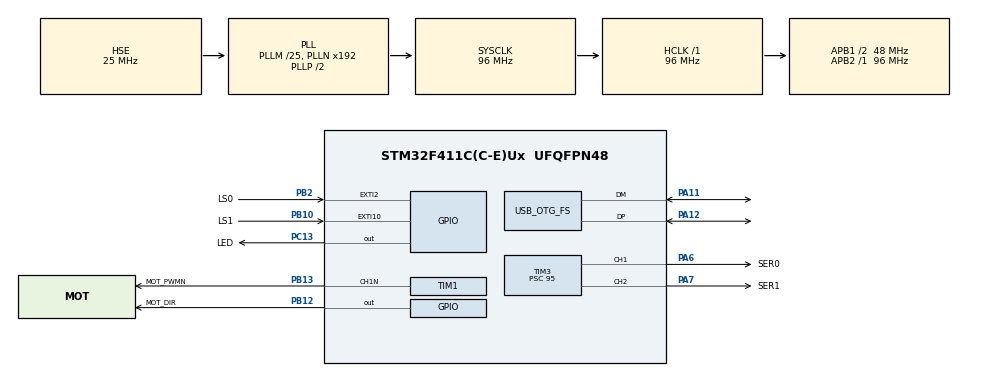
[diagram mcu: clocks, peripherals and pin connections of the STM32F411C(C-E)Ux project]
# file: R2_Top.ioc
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Mcu.Family=STM32F4
Mcu.Name=STM32F411C(C-E)Ux
Mcu.Package=UFQFPN48
NVIC.EXTI15_10_IRQn=true\:0\:0\:false\:false\:true\:true\:true\:true
NVIC.EXTI2_IRQn=true\:0\:0\:false\:false\:true\:true\:true\:true
NVIC.OTG_FS_IRQn=true\:0\:0\:false\:false\:true\:false\:true\:true
NVIC.PriorityGroup=NVIC_PRIORITYGROUP_4
NVIC.TIM4_IRQn=true\:0\:0\:false\:false\:true\:true\:true\:true
PA11.Mode=Device_Only
PA11.Signal=USB_OTG_FS_DM
PA12.Mode=Device_Only
PA12.Signal=USB_OTG_FS_DP
PA6.GPIO_Label=SER0
PA6.Signal=S_TIM3_CH1
PA7.GPIO_Label=SER1
PA7.Signal=S_TIM3_CH2
PB10.GPIO_Label=LS1
PB10.GPIO_ModeDefaultEXTI=GPIO_MODE_IT_FALLING
PB10.GPIO_PuPd=GPIO_PULLUP
PB10.Signal=GPXTI10
PB12.GPIO_Label=MOT_DIR
PB12.Signal=GPIO_Output
PB13.GPIO_Label=MOT_PWMN
PB13.Mode=PWM Generation1 CH1N
PB13.Signal=TIM1_CH1N
PB2.GPIO_Label=LS0
PB2.GPIO_ModeDefaultEXTI=GPIO_MODE_IT_FALLING
PB2.GPIO_PuPd=GPIO_PULLUP
PB2.Signal=GPXTI2
PC13-ANTI_TAMP.GPIO_Label=LED
PC13-ANTI_TAMP.Signal=GPIO_Output
PH0\ -\ OSC_IN.Mode=HSE-External-Oscillator
PH0\ -\ OSC_IN.Signal=RCC_OSC_IN
PH1\ -\ OSC_OUT.Mode=HSE-External-Oscillator
PH1\ -\ OSC_OUT.Signal=RCC_OSC_OUT
ProjectManager.HeapSize=0x200
ProjectManager.StackSize=0x400
ProjectManager.TargetToolchain=STM32CubeIDE
RCC.48MHZClocksFreq_Value=48000000
RCC.AHBFreq_Value=96000000
RCC.APB1CLKDivider=RCC_HCLK_DIV2
RCC.APB1Freq_Value=48000000
RCC.APB1TimFreq_Value=96000000
RCC.APB2Freq_Value=96000000
RCC.APB2TimFreq_Value=96000000
RCC.CortexFreq_Value=96000000
RCC.HCLKFreq_Value=96000000
RCC.HSE_VALUE=25000000
RCC.HSI_VALUE=16000000
RCC.LSE_VALUE=32768
RCC.PLLM=25
RCC.SYSCLKFreq_VALUE=96000000
RCC.SYSCLKSource=RCC_SYSCLKSOURCE_PLLCLK
RCC.VCOOutputFreq_Value=192000000
SH.S_TIM3_CH1.0=TIM3_CH1,PWM Generation1 CH1
SH.S_TIM3_CH2.0=TIM3_CH2,PWM Generation2 CH2
TIM1.Channel-PWM\ Generation1\ CH1N=TIM_CHANNEL_1
TIM3.Channel-PWM\ Generation1\ CH1=TIM_CHANNEL_1
TIM3.Channel-PWM\ Generation2\ CH2=TIM_CHANNEL_2
TIM3.Period=20000
TIM3.Prescaler=95
TIM4.AutoReloadPreload=TIM_AUTORELOAD_PRELOAD_ENABLE
TIM4.Period=1000
TIM4.Prescaler=95
USB_DEVICE.CLASS_NAME_FS=CDC
USB_DEVICE.VirtualMode=Cdc
USB_DEVICE.VirtualModeFS=Cdc_FS
USB_OTG_FS.VirtualMode=Device_Only
VP_TIM1_VS_ClockSourceINT.Mode=Internal
VP_TIM3_VS_ClockSourceINT.Mode=Internal
VP_TIM4_VS_ClockSourceINT.Mode=Internal
VP_USB_DEVICE_VS_USB_DEVICE_CDC_FS.Mode=CDC_FS
board=custom

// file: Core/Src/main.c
/* USER CODE BEGIN Header */
/**
 ******************************************************************************
 * @file           : main.c
 * @brief          : Main program body
 ******************************************************************************
 * @attention
 *
 * Copyright (c) 2024 STMicroelectronics.
 * All rights reserved.
 *
 * This software is licensed under terms that can be found in the LICENSE file
 * in the root directory of this software component.
 * If no LICENSE file comes with this software, it is provided AS-IS.
 *
 ******************************************************************************
 */
/* USER CODE END Header */
#include "main.h"
#include "usb_device.h"

/* USER CODE BEGIN Includes */
#include "usbd_cdc_if.h"
#include "string.h"

/* USER CODE END Includes */

/* USER CODE BEGIN PTD */
typedef struct {
	GPIO_TypeDef *PORT;
	uint16_t PIN;
	TIM_HandleTypeDef TIMER;
	uint32_t CHANNEL;
	uint8_t DIR;
	uint16_t PWM;
} MOT_TypeDef;

typedef struct {
	TIM_HandleTypeDef TIMER;
	uint32_t CHANNEL;
	uint16_t PWM;
} SER_TypeDef;
/* USER CODE END PTD */

/* USER CODE BEGIN PD */
#define BUFFER_LENGTH 64
#define SOL_INTERVAL 10000
#define LEFT_SHIFT 8

#define LS0_PIN GPIO_PIN_2
#define LS1_PIN GPIO_PIN_10

/* USER CODE END PD */

TIM_HandleTypeDef htim1;
TIM_HandleTypeDef htim3;
TIM_HandleTypeDef htim4;

/* USER CODE BEGIN PV */
char buffer[BUFFER_LENGTH];

uint8_t rackPos = 2; //DON'T state the rack at an extreme position
uint8_t errorFlag = 0;

MOT_TypeDef motor;
SER_TypeDef servo[2];

/* USER CODE END PV */

void SystemClock_Config(void);
static void MX_GPIO_Init(void);
static void MX_TIM1_Init(void);
static void MX_TIM3_Init(void);
static void MX_TIM4_Init(void);

/* USER CODE BEGIN 0 */
void stopRack() {
	HAL_GPIO_TogglePin(motor.PORT, motor.PIN);
	HAL_Delay(1000);

	motor.PWM = 0;
	TIM1->CCR1 = 0;
}

int isCleared(char *buffer) {
	for (uint8_t i = 0; i < BUFFER_LENGTH; i++) {
		if (buffer[i] != '\0') {
			return 0;  // Buffer is not cleared
		}
	}
	return 1;  // Buffer is cleared
}

/* USER CODE END 0 */

int main(void)
{

  /* USER CODE BEGIN 1 */
	uint32_t lastSOL = 0;

	char message[BUFFER_LENGTH + 20];

	motor.PORT = GPIOB;
	motor.PIN = GPIO_PIN_12;
	motor.TIMER = htim1;
	motor.CHANNEL = TIM_CHANNEL_1;
	motor.DIR = 0;
	motor.PWM = 0;

	servo[0].TIMER = htim3;
	servo[0].CHANNEL = TIM_CHANNEL_1;
	servo[0].PWM = 1000;

	servo[1].TIMER = htim3;
	servo[1].CHANNEL = TIM_CHANNEL_2;
	servo[1].PWM = 1000;

  /* USER CODE END 1 */

  /* MCU Configuration--------------------------------------------------------*/

  /* Reset of all peripherals, Initializes the Flash interface and the Systick. */
  HAL_Init();

  /* Configure the system clock */
  SystemClock_Config();

  /* Initialize all configured peripherals */
  MX_GPIO_Init();
  MX_USB_DEVICE_Init();
  MX_TIM1_Init();
  MX_TIM3_Init();
  MX_TIM4_Init();
  /* USER CODE BEGIN 2 */
	HAL_GPIO_WritePin(GPIOC, GPIO_PIN_13, GPIO_PIN_RESET);

	if ((HAL_TIMEx_PWMN_Start(&(motor.TIMER), motor.CHANNEL) == HAL_OK)) { //<-This is PWMN
		sprintf(message, "TIM1->CH1N active\n\r");
	} else {
		sprintf(message, "TIM1->CH1N error\n\r");
	}
	CDC_Transmit_FS((uint8_t*) message, strlen(message));
	HAL_Delay(1);

	for (uint8_t i = 0; i < 2; i++) {
		if (HAL_TIM_PWM_Start(&(servo[i].TIMER), servo[i].CHANNEL)) {	//<-This is PWM
			sprintf(message, "Servo %d PWM initialised\n\r", i);
		} else {
			sprintf(message, "Error initialising servo %d PWM\n\r", i);
		}
		CDC_Transmit_FS((uint8_t*) message, strlen(message));
		HAL_Delay(1);
	}

	if (!errorFlag) {
		sprintf(message, "All systems operational\n\r");
		CDC_Transmit_FS((uint8_t*) message, strlen(message));
		HAL_Delay(1);

		sprintf(message, "F411 Black Pill online\n\r");
		CDC_Transmit_FS((uint8_t*) message, strlen(message));
		HAL_Delay(1);
	} else {
		sprintf(message, "STM started with some errors\n\r");
		CDC_Transmit_FS((uint8_t*) message, strlen(message));
		HAL_Delay(1);
	}

  /* USER CODE END 2 */

  /* Infinite loop */
  /* USER CODE BEGIN WHILE */
	while (1) {
		uint32_t current_time = HAL_GetTick();

		if (!isCleared(buffer)) {
			char receivedStr[BUFFER_LENGTH];

			sprintf(message, "String Received: %s\n\r", buffer);
			CDC_Transmit_FS((uint8_t*) message, strlen(message));

			sprintf(receivedStr, "%s", buffer);
			uint8_t receivedStrlen = strlen(receivedStr);

			if (receivedStr[receivedStrlen - 1] == 'A') {
				uint8_t multiplier = 1;

				motor.DIR = 0;
				motor.PWM = 0;

				for (int8_t i = receivedStrlen - 2; i >= 0; i--) {
					if (receivedStr[i] >= '0' && receivedStr[i] <= '9') {
						motor.PWM += (receivedStr[i] - '0') * multiplier;
						multiplier *= 10;
					} else if (receivedStr[i] == '-') {
						motor.DIR = 1;
					}
				}
			} else if (receivedStr[0] == '1') {	//EXTEND
				if (rackPos != 0){
					motor.DIR = 0;
					motor.PWM = 127;
				}
			} else if (receivedStr[0] == '2') {	//RETRACT
				if (rackPos != 1){
					motor.DIR = 1;
					motor.PWM = 127;
				}
			} else if (receivedStr[0] == '5') {	//ARM_DOWN
				servo[0].PWM = 1000;
			} else if (receivedStr[0] == '6') {	//ARM_UP
				servo[0].PWM = 2000;
			} else if (receivedStr[0] == '7') {	//ARM_CLOSE
				servo[1].PWM = 1000;
			} else if (receivedStr[0] == '8') {	//ARM_OPEN
				servo[1].PWM = 2000;
			} else if (receivedStr[0] == '9') {	//HALF_DESCALATE: DON'T EVER use this as the 1st command after startup
				TIM1->CCR1 = 32767;
				HAL_Delay(1000);
				TIM1->CCR1 = 0;
			}

			sprintf(message, "Dir: %d PWM: %d SER1: %d SER2: %d\n\r", motor.DIR,
					motor.PWM, servo[0].PWM, servo[1].PWM);
			CDC_Transmit_FS((uint8_t*) message, strlen(message));

			HAL_GPIO_WritePin(GPIOB, GPIO_PIN_12, motor.DIR);	//<-MOTORS HERE
			TIM1->CCR1 = motor.PWM << LEFT_SHIFT;

			TIM3->CCR1 = servo[0].PWM;
			TIM3->CCR1 = servo[1].PWM;

			memset(buffer, '\0', BUFFER_LENGTH);

		} else if (current_time - lastSOL >= SOL_INTERVAL) {
			CDC_Transmit_FS((uint8_t*) "SOL\n\r", strlen("SOL\n\r"));
			lastSOL = current_time;
		}

		HAL_Delay(1);
    /* USER CODE END WHILE */

	}
}

void SystemClock_Config(void)
{
  RCC_OscInitTypeDef RCC_OscInitStruct = {0};
  RCC_ClkInitTypeDef RCC_ClkInitStruct = {0};

  /** Configure the main internal regulator output voltage
  */
  __HAL_RCC_PWR_CLK_ENABLE();
  __HAL_PWR_VOLTAGESCALING_CONFIG(PWR_REGULATOR_VOLTAGE_SCALE1);

  /** Initializes the RCC Oscillators according to the specified parameters
  * in the RCC_OscInitTypeDef structure.
  */
  RCC_OscInitStruct.OscillatorType = RCC_OSCILLATORTYPE_HSE;
  RCC_OscInitStruct.HSEState = RCC_HSE_ON;
  RCC_OscInitStruct.PLL.PLLState = RCC_PLL_ON;
  RCC_OscInitStruct.PLL.PLLSource = RCC_PLLSOURCE_HSE;
  RCC_OscInitStruct.PLL.PLLM = 25;
  RCC_OscInitStruct.PLL.PLLN = 192;
  RCC_OscInitStruct.PLL.PLLP = RCC_PLLP_DIV2;
  RCC_OscInitStruct.PLL.PLLQ = 4;
  if (HAL_RCC_OscConfig(&RCC_OscInitStruct) != HAL_OK)
  {
    Error_Handler();
  }

  /** Initializes the CPU, AHB and APB buses clocks
  */
  RCC_ClkInitStruct.ClockType = RCC_CLOCKTYPE_HCLK|RCC_CLOCKTYPE_SYSCLK
                              |RCC_CLOCKTYPE_PCLK1|RCC_CLOCKTYPE_PCLK2;
  RCC_ClkInitStruct.SYSCLKSource = RCC_SYSCLKSOURCE_PLLCLK;
  RCC_ClkInitStruct.AHBCLKDivider = RCC_SYSCLK_DIV1;
  RCC_ClkInitStruct.APB1CLKDivider = RCC_HCLK_DIV2;
  RCC_ClkInitStruct.APB2CLKDivider = RCC_HCLK_DIV1;

  if (HAL_RCC_ClockConfig(&RCC_ClkInitStruct, FLASH_LATENCY_3) != HAL_OK)
  {
    Error_Handler();
  }
}

static void MX_TIM1_Init(void)
{

  TIM_ClockConfigTypeDef sClockSourceConfig = {0};
  TIM_MasterConfigTypeDef sMasterConfig = {0};
  TIM_OC_InitTypeDef sConfigOC = {0};
  TIM_BreakDeadTimeConfigTypeDef sBreakDeadTimeConfig = {0};

  htim1.Instance = TIM1;
  htim1.Init.Prescaler = 0;
  htim1.Init.CounterMode = TIM_COUNTERMODE_UP;
  htim1.Init.Period = 65535;
  htim1.Init.ClockDivision = TIM_CLOCKDIVISION_DIV1;
  htim1.Init.RepetitionCounter = 0;
  htim1.Init.AutoReloadPreload = TIM_AUTORELOAD_PRELOAD_DISABLE;
  if (HAL_TIM_Base_Init(&htim1) != HAL_OK)
  {
    Error_Handler();
  }
  sClockSourceConfig.ClockSource = TIM_CLOCKSOURCE_INTERNAL;
  if (HAL_TIM_ConfigClockSource(&htim1, &sClockSourceConfig) != HAL_OK)
  {
    Error_Handler();
  }
  if (HAL_TIM_PWM_Init(&htim1) != HAL_OK)
  {
    Error_Handler();
  }
  sMasterConfig.MasterOutputTrigger = TIM_TRGO_RESET;
  sMasterConfig.MasterSlaveMode = TIM_MASTERSLAVEMODE_DISABLE;
  if (HAL_TIMEx_MasterConfigSynchronization(&htim1, &sMasterConfig) != HAL_OK)
  {
    Error_Handler();
  }
  sConfigOC.OCMode = TIM_OCMODE_PWM1;
  sConfigOC.Pulse = 0;
  sConfigOC.OCPolarity = TIM_OCPOLARITY_HIGH;
  sConfigOC.OCNPolarity = TIM_OCNPOLARITY_HIGH;
  sConfigOC.OCFastMode = TIM_OCFAST_DISABLE;
  sConfigOC.OCIdleState = TIM_OCIDLESTATE_RESET;
  sConfigOC.OCNIdleState = TIM_OCNIDLESTATE_RESET;
  if (HAL_TIM_PWM_ConfigChannel(&htim1, &sConfigOC, TIM_CHANNEL_1) != HAL_OK)
  {
    Error_Handler();
  }
  sBreakDeadTimeConfig.OffStateRunMode = TIM_OSSR_DISABLE;
  sBreakDeadTimeConfig.OffStateIDLEMode = TIM_OSSI_DISABLE;
  sBreakDeadTimeConfig.LockLevel = TIM_LOCKLEVEL_OFF;
  sBreakDeadTimeConfig.DeadTime = 0;
  sBreakDeadTimeConfig.BreakState = TIM_BREAK_DISABLE;
  sBreakDeadTimeConfig.BreakPolarity = TIM_BREAKPOLARITY_HIGH;
  sBreakDeadTimeConfig.AutomaticOutput = TIM_AUTOMATICOUTPUT_DISABLE;
  if (HAL_TIMEx_ConfigBreakDeadTime(&htim1, &sBreakDeadTimeConfig) != HAL_OK)
  {
    Error_Handler();
  }
  HAL_TIM_MspPostInit(&htim1);

}

static void MX_TIM3_Init(void)
{

  TIM_ClockConfigTypeDef sClockSourceConfig = {0};
  TIM_MasterConfigTypeDef sMasterConfig = {0};
  TIM_OC_InitTypeDef sConfigOC = {0};

  htim3.Instance = TIM3;
  htim3.Init.Prescaler = 95;
  htim3.Init.CounterMode = TIM_COUNTERMODE_UP;
  htim3.Init.Period = 20000;
  htim3.Init.ClockDivision = TIM_CLOCKDIVISION_DIV1;
  htim3.Init.AutoReloadPreload = TIM_AUTORELOAD_PRELOAD_DISABLE;
  if (HAL_TIM_Base_Init(&htim3) != HAL_OK)
  {
    Error_Handler();
  }
  sClockSourceConfig.ClockSource = TIM_CLOCKSOURCE_INTERNAL;
  if (HAL_TIM_ConfigClockSource(&htim3, &sClockSourceConfig) != HAL_OK)
  {
    Error_Handler();
  }
  if (HAL_TIM_PWM_Init(&htim3) != HAL_OK)
  {
    Error_Handler();
  }
  sMasterConfig.MasterOutputTrigger = TIM_TRGO_RESET;
  sMasterConfig.MasterSlaveMode = TIM_MASTERSLAVEMODE_DISABLE;
  if (HAL_TIMEx_MasterConfigSynchronization(&htim3, &sMasterConfig) != HAL_OK)
  {
    Error_Handler();
  }
  sConfigOC.OCMode = TIM_OCMODE_PWM1;
  sConfigOC.Pulse = 0;
  sConfigOC.OCPolarity = TIM_OCPOLARITY_HIGH;
  sConfigOC.OCFastMode = TIM_OCFAST_DISABLE;
  if (HAL_TIM_PWM_ConfigChannel(&htim3, &sConfigOC, TIM_CHANNEL_1) != HAL_OK)
  {
    Error_Handler();
  }
  if (HAL_TIM_PWM_ConfigChannel(&htim3, &sConfigOC, TIM_CHANNEL_2) != HAL_OK)
  {
    Error_Handler();
  }
  HAL_TIM_MspPostInit(&htim3);

}

static void MX_TIM4_Init(void)
{

  TIM_ClockConfigTypeDef sClockSourceConfig = {0};
  TIM_MasterConfigTypeDef sMasterConfig = {0};

  htim4.Instance = TIM4;
  htim4.Init.Prescaler = 95;
  htim4.Init.CounterMode = TIM_COUNTERMODE_UP;
  htim4.Init.Period = 1000;
  htim4.Init.ClockDivision = TIM_CLOCKDIVISION_DIV1;
  htim4.Init.AutoReloadPreload = TIM_AUTORELOAD_PRELOAD_ENABLE;
  if (HAL_TIM_Base_Init(&htim4) != HAL_OK)
  {
    Error_Handler();
  }
  sClockSourceConfig.ClockSource = TIM_CLOCKSOURCE_INTERNAL;
  if (HAL_TIM_ConfigClockSource(&htim4, &sClockSourceConfig) != HAL_OK)
  {
    Error_Handler();
  }
  sMasterConfig.MasterOutputTrigger = TIM_TRGO_RESET;
  sMasterConfig.MasterSlaveMode = TIM_MASTERSLAVEMODE_DISABLE;
  if (HAL_TIMEx_MasterConfigSynchronization(&htim4, &sMasterConfig) != HAL_OK)
  {
    Error_Handler();
  }

}

static void MX_GPIO_Init(void)
{
  GPIO_InitTypeDef GPIO_InitStruct = {0};

  /* GPIO Ports Clock Enable */
  __HAL_RCC_GPIOC_CLK_ENABLE();
  __HAL_RCC_GPIOH_CLK_ENABLE();
  __HAL_RCC_GPIOA_CLK_ENABLE();
  __HAL_RCC_GPIOB_CLK_ENABLE();

  /*Configure GPIO pin Output Level */
  HAL_GPIO_WritePin(LED_GPIO_Port, LED_Pin, GPIO_PIN_RESET);

  /*Configure GPIO pin Output Level */
  HAL_GPIO_WritePin(MOT_DIR_GPIO_Port, MOT_DIR_Pin, GPIO_PIN_RESET);

  /*Configure GPIO pin : LED_Pin */
  GPIO_InitStruct.Pin = LED_Pin;
  GPIO_InitStruct.Mode = GPIO_MODE_OUTPUT_PP;
  GPIO_InitStruct.Pull = GPIO_NOPULL;
  GPIO_InitStruct.Speed = GPIO_SPEED_FREQ_LOW;
  HAL_GPIO_Init(LED_GPIO_Port, &GPIO_InitStruct);

  /*Configure GPIO pins : LS0_Pin LS1_Pin */
  GPIO_InitStruct.Pin = LS0_Pin|LS1_Pin;
  GPIO_InitStruct.Mode = GPIO_MODE_IT_FALLING;
  GPIO_InitStruct.Pull = GPIO_PULLUP;
  HAL_GPIO_Init(GPIOB, &GPIO_InitStruct);

  /*Configure GPIO pin : MOT_DIR_Pin */
  GPIO_InitStruct.Pin = MOT_DIR_Pin;
  GPIO_InitStruct.Mode = GPIO_MODE_OUTPUT_PP;
  GPIO_InitStruct.Pull = GPIO_NOPULL;
  GPIO_InitStruct.Speed = GPIO_SPEED_FREQ_LOW;
  HAL_GPIO_Init(MOT_DIR_GPIO_Port, &GPIO_InitStruct);

  /* EXTI interrupt init*/
  HAL_NVIC_SetPriority(EXTI2_IRQn, 0, 0);
  HAL_NVIC_EnableIRQ(EXTI2_IRQn);

  HAL_NVIC_SetPriority(EXTI15_10_IRQn, 0, 0);
  HAL_NVIC_EnableIRQ(EXTI15_10_IRQn);

}

/* USER CODE BEGIN 4 */
void HAL_TIM_PeriodElapsedCallback(TIM_HandleTypeDef *htim) {
	if (errorFlag) {
		HAL_GPIO_TogglePin(GPIOC, GPIO_PIN_13);
	}
}

void HAL_GPIO_EXTI_Callback(uint16_t GPIO_Pin) {
	if (GPIO_Pin == LS0_PIN) {
		rackPos = 0;
		HAL_GPIO_TogglePin(GPIOC, GPIO_PIN_13);
		stopRack();
	} else if (GPIO_Pin == LS1_PIN) {
		rackPos = 1;
		HAL_GPIO_TogglePin(GPIOC, GPIO_PIN_13);
		stopRack();
	}
}

/* USER CODE END 4 */

void Error_Handler(void)
{
	__disable_irq();
	while (1) {
	}
}
